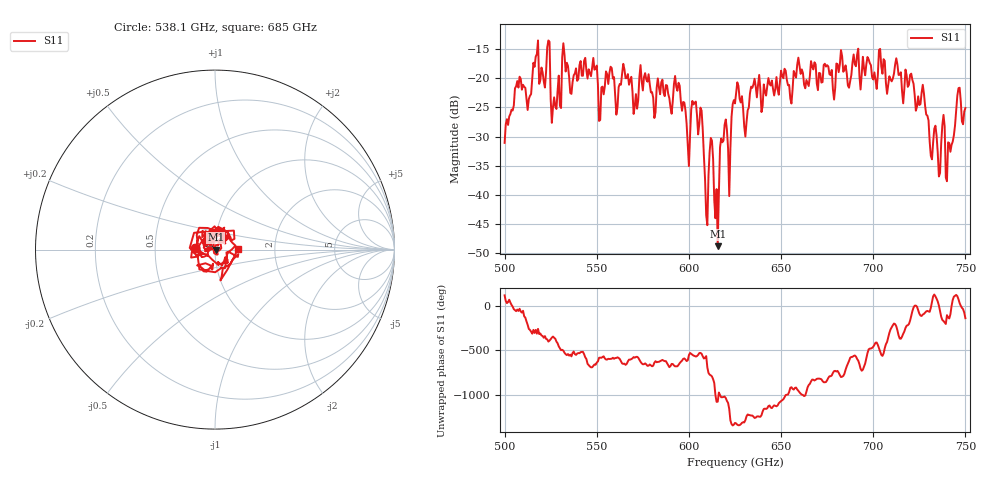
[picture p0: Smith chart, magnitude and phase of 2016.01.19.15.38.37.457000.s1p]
!Created with skrf (http://scikit-rf.org).
# GHz S RI R 50.0
!freq ReS11 ImS11
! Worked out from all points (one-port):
!   401 points, 500 GHz to 750 GHz, reference 50 ohm
!   lowest |S11| = -48.8 dB at 615.6 GHz (marker M1), VSWR 1.01, Z = 50.4 + j0.0266 ohm
!   |S11| at or under -10 dB: start of sweep to end of sweep
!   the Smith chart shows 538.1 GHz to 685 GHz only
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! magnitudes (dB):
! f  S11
! 500 GHz  -31.1
! 507.5 GHz  -21.6
! 513.1 GHz  -23.6
! 516.9 GHz  -16.3
! 523.8 GHz  -13.5
! 526.9 GHz  -23.3
! 531.2 GHz  -16.4
! 562.5 GHz  -21.0
! 593.8 GHz  -22.1
! 599.4 GHz  -31.5
! 602.5 GHz  -24.5
! 606.2 GHz  -25.0
! 609.4 GHz  -43.5
! 611.9 GHz  -30.2
! 615.6 GHz  -48.8
! 618.1 GHz  -31.0
! 621.9 GHz  -40.2
! 625 GHz  -24.3
! 631.2 GHz  -27.5
! 635 GHz  -21.1
! 656.2 GHz  -21.9
! 687.5 GHz  -20.5
! 718.8 GHz  -21.5
! 735.6 GHz  -36.8
! 737.5 GHz  -28.0
! 740.6 GHz  -31.0
! 746.2 GHz  -21.7
! 750 GHz  -25.1
